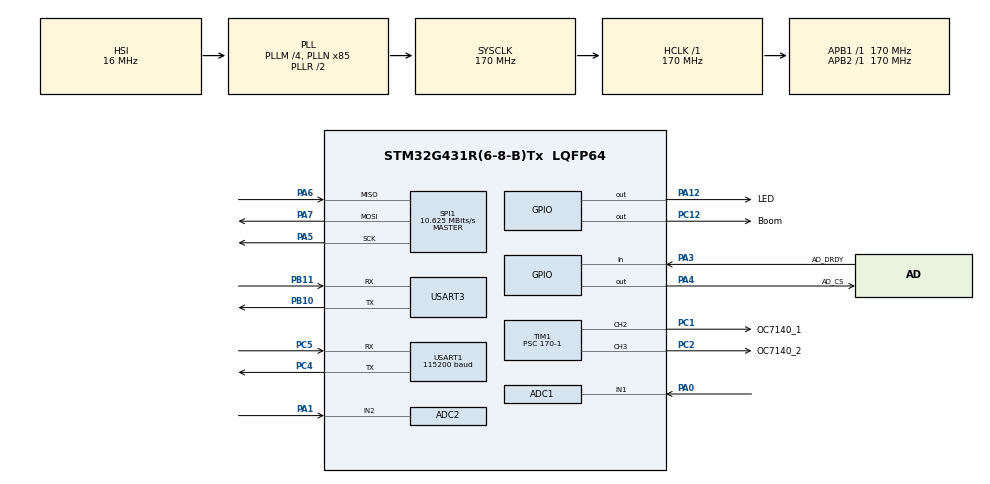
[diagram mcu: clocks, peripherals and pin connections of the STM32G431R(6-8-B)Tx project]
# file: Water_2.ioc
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ADC1.Channel-0\#ChannelRegularConversion=ADC_CHANNEL_1
ADC1.NbrOfConversionFlag=1
ADC1.OffsetNumber-0\#ChannelRegularConversion=ADC_OFFSET_NONE
ADC1.Rank-0\#ChannelRegularConversion=1
ADC1.SamplingTime-0\#ChannelRegularConversion=ADC_SAMPLETIME_2CYCLES_5
ADC1.master=1
ADC2.Channel-0\#ChannelRegularConversion=ADC_CHANNEL_2
ADC2.NbrOfConversionFlag=1
ADC2.OffsetNumber-0\#ChannelRegularConversion=ADC_OFFSET_NONE
ADC2.Rank-0\#ChannelRegularConversion=1
ADC2.SamplingTime-0\#ChannelRegularConversion=ADC_SAMPLETIME_2CYCLES_5
Mcu.Family=STM32G4
Mcu.Name=STM32G431R(6-8-B)Tx
Mcu.Package=LQFP64
NVIC.PriorityGroup=NVIC_PRIORITYGROUP_4
NVIC.USART1_IRQn=true\:0\:0\:false\:false\:true\:true\:true\:true
NVIC.USART3_IRQn=true\:0\:0\:false\:false\:true\:true\:true\:true
PA0.Mode=IN1-Single-Ended
PA0.Signal=ADC1_IN1
PA1.Mode=IN2-Single-Ended
PA1.Signal=ADC2_IN2
PA12.GPIO_Label=LED
PA12.GPIO_ModeDefaultOutputPP=GPIO_MODE_OUTPUT_PP
PA12.GPIO_PuPd=GPIO_PULLDOWN
PA12.GPIO_Speed=GPIO_SPEED_FREQ_VERY_HIGH
PA12.PinState=GPIO_PIN_SET
PA12.Signal=GPIO_Output
PA13.Mode=Serial_Wire
PA13.Signal=SYS_JTMS-SWDIO
PA14.Mode=Serial_Wire
PA14.Signal=SYS_JTCK-SWCLK
PA3.GPIO_Label=AD_DRDY
PA3.GPIO_PuPd=GPIO_PULLUP
PA3.Signal=GPIO_Input
PA4.GPIO_Label=AD_CS
PA4.GPIO_ModeDefaultOutputPP=GPIO_MODE_OUTPUT_PP
PA4.GPIO_PuPd=GPIO_PULLDOWN
PA4.GPIO_Speed=GPIO_SPEED_FREQ_VERY_HIGH
PA4.PinState=GPIO_PIN_SET
PA4.Signal=GPIO_Output
PA5.Mode=Full_Duplex_Master
PA5.Signal=SPI1_SCK
PA6.Mode=Full_Duplex_Master
PA6.Signal=SPI1_MISO
PA7.Mode=Full_Duplex_Master
PA7.Signal=SPI1_MOSI
PB10.GPIO_Speed=GPIO_SPEED_FREQ_VERY_HIGH
PB10.Mode=Asynchronous
PB10.Signal=USART3_TX
PB11.GPIO_Speed=GPIO_SPEED_FREQ_VERY_HIGH
PB11.Mode=Asynchronous
PB11.Signal=USART3_RX
PC1.GPIO_Label=OC7140_1
PC1.GPIO_PuPd=GPIO_PULLDOWN
PC1.GPIO_Speed=GPIO_SPEED_FREQ_VERY_HIGH
PC1.Signal=S_TIM1_CH2
PC12.GPIO_Label=Boom
PC12.GPIO_ModeDefaultOutputPP=GPIO_MODE_OUTPUT_PP
PC12.GPIO_PuPd=GPIO_PULLUP
PC12.GPIO_Speed=GPIO_SPEED_FREQ_VERY_HIGH
PC12.PinState=GPIO_PIN_SET
PC12.Signal=GPIO_Output
PC14-OSC32_IN.Mode=LSE-External-Oscillator
PC14-OSC32_IN.Signal=RCC_OSC32_IN
PC15-OSC32_OUT.Mode=LSE-External-Oscillator
PC15-OSC32_OUT.Signal=RCC_OSC32_OUT
PC2.GPIO_Label=OC7140_2
PC2.GPIO_PuPd=GPIO_PULLDOWN
PC2.GPIO_Speed=GPIO_SPEED_FREQ_VERY_HIGH
PC2.Signal=S_TIM1_CH3
PC4.GPIO_Speed=GPIO_SPEED_FREQ_VERY_HIGH
PC4.Mode=Asynchronous
PC4.Signal=USART1_TX
PC5.GPIO_Speed=GPIO_SPEED_FREQ_VERY_HIGH
PC5.Mode=Asynchronous
PC5.Signal=USART1_RX
PF0-OSC_IN.Mode=HSE-External-Oscillator
PF0-OSC_IN.Signal=RCC_OSC_IN
PF1-OSC_OUT.Mode=HSE-External-Oscillator
PF1-OSC_OUT.Signal=RCC_OSC_OUT
ProjectManager.HeapSize=0x200
ProjectManager.StackSize=0x400
ProjectManager.TargetToolchain=MDK-ARM V5.32
RCC.ADC12Freq_Value=170000000
RCC.AHBFreq_Value=170000000
RCC.APB1Freq_Value=170000000
RCC.APB1TimFreq_Value=170000000
RCC.APB2Freq_Value=170000000
RCC.APB2TimFreq_Value=170000000
RCC.CortexFreq_Value=170000000
RCC.EXTERNAL_CLOCK_VALUE=12288000
RCC.HCLKFreq_Value=170000000
RCC.HSE_VALUE=16000000
RCC.HSI48_VALUE=48000000
RCC.HSI_VALUE=16000000
RCC.PLLM=RCC_PLLM_DIV4
RCC.PLLN=85
RCC.SYSCLKFreq_VALUE=170000000
RCC.SYSCLKSource=RCC_SYSCLKSOURCE_PLLCLK
RCC.USBFreq_Value=170000000
RCC.VCOOutputFreq_Value=340000000
SH.S_TIM1_CH2.0=TIM1_CH2,PWM Generation2 CH2
SH.S_TIM1_CH3.0=TIM1_CH3,PWM Generation3 CH3
SPI1.BaudRatePrescaler=SPI_BAUDRATEPRESCALER_16
SPI1.CLKPhase=SPI_PHASE_2EDGE
SPI1.CalculateBaudRate=10.625 MBits/s
SPI1.DataSize=SPI_DATASIZE_8BIT
SPI1.Direction=SPI_DIRECTION_2LINES
SPI1.Mode=SPI_MODE_MASTER
SPI1.VirtualType=VM_MASTER
TIM1.Channel-PWM\ Generation2\ CH2=TIM_CHANNEL_2
TIM1.Channel-PWM\ Generation3\ CH3=TIM_CHANNEL_3
TIM1.PeriodNoDither=1000
TIM1.Prescaler=170-1
TIM1.PulseNoDither_2=0
TIM6.PeriodNoDither=10000
TIM6.Prescaler=1700
TIM7.PeriodNoDither=1000
TIM7.Prescaler=170
USART1.BaudRate=115200
USART1.VirtualMode-Asynchronous=VM_ASYNC
USART3.VirtualMode-Asynchronous=VM_ASYNC
VP_SYS_VS_DBSignals.Mode=DisableDeadBatterySignals
VP_TIM1_VS_ClockSourceINT.Mode=Internal
VP_TIM6_VS_ClockSourceINT.Mode=Enable_Timer
VP_TIM7_VS_ClockSourceINT.Mode=Enable_Timer
board=custom

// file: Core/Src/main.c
/* USER CODE BEGIN Header */
/**
 ******************************************************************************
 * @file           : main.c
 * @brief          : Main program body
 ******************************************************************************
 * @attention
 *
 * Copyright (c) 2025 STMicroelectronics.
 * All rights reserved.
 *
 * This software is licensed under terms that can be found in the LICENSE file
 * in the root directory of this software component.
 * If no LICENSE file comes with this software, it is provided AS-IS.
 *
 ******************************************************************************
 */
/* USER CODE END Header */
#include "main.h"
#include "adc.h"
#include "spi.h"
#include "tim.h"
#include "usart.h"
#include "gpio.h"

/* USER CODE BEGIN Includes */
#include <stdio.h>
#include <string.h>
#include "Led.h"
#include "Ds18B20.h"
#include "AllSet.h"
#include "ADS1220.h"
#include "water_quality_ai.h"
#include "cJSON.h"
/* USER CODE END Includes */

/* USER CODE BEGIN PD */
#define RX_BUFFER_SIZE 64
// 新调试指令格式: 0xAA 0xAA 0xBB 0xBB (4字节序列)
#define DEBUG_CMD_BYTE0 0xAA
#define DEBUG_CMD_BYTE1 0xAA
#define DEBUG_CMD_BYTE2 0xBB
#define DEBUG_CMD_BYTE3 0xBB

ADS1220_HandleTypeDef hads1220;
uint32_t adc_data;
// 配置寄存器 (使用宏定义方便调整)
// 范围 = +/- Vref / Gain
// 注意：单端测量(AINx-AVSS)且信号接近0V时，必须禁用PGA (PGA_BYPASS)
uint8_t config_reg[4] = {
    MUX_P_AIN0_N_AVSS | GAIN_1 | PGA_BYPASS,               // Config 0: 增益1, 禁用PGA (关键修改)
    DR_20SPS | MODE_NORMAL | CM_SINGLE | TS_OFF | BCS_OFF, // Config 1: 20SPS, 关闭温度传感器
    VREF_AVDD | FIR_NONE | PSW_OPEN | IDAC_OFF,            // Config 2: 使用AVDD(3.3V)作为参考
    I1MUX_DISABLED | I2MUX_DISABLED | DRDY_ON_DRDY_ONLY    // Config 3: IDAC禁用
};

float sensor_254_nm = 0.0f;
float sensor_550_nm = 0.0f;
float sensor_temperature = 0.0f;
float result_cod = 0.0f;
float result_uv254 = 0.0f;

/* USER CODE END PD */

/* USER CODE BEGIN PV */
// USART3接收相关变量
uint8_t usart3_rx_buffer[RX_BUFFER_SIZE];
uint16_t usart3_rx_index = 0;
uint8_t usart3_rx_complete = 0;
uint8_t cmd_rx_state = 0;  // 新指令状态: 0=等AA1, 1=等AA2, 2=等BB1, 3=等BB2
uint8_t cmd_toggle_state = 0;  // 调试切换指令: 0=等CC1, 1=等CC2, 2=等CC3
uint8_t cmd_mute_state = 0;    // 静默指令: 0=等DD1, 1=等DD2, 2=等DD3
uint8_t cmd_unmute_state = 0;  // 恢复指令: 0=等EE1, 1=等EE2, 2=等EE3

uint8_t tx_muted = 0;  // 0=允许USART3发送, 1=静默(遥控系统占用信道时禁止发送)

// USART1接收相关变量 (新增)
uint8_t usart1_rx_buffer[1];

uint8_t TestStart = 0;

uint8_t debug_mode = 0;  // 0=正常模式(周期检测), 1=调试模式(指令触发检测)

uint64_t tick_counter = 0;
uint64_t tick_heart = 0;

// 初始水泵控制（非阻塞10秒）
uint8_t initial_pump_done = 0;
uint64_t tick_initial_pump = 0;

// 总线空闲检测：记录最后一次收到字节的时刻
uint64_t tick_last_rx = 0;
/* USER CODE END PV */

void SystemClock_Config(void);

/* USER CODE BEGIN 0 */
int fputc(int ch, FILE *f)
{
  HAL_UART_Transmit(&huart1, (uint8_t *)&ch, 1, 0xffff); ///< 普通串口发送数据
  while (__HAL_UART_GET_FLAG(&huart1, UART_FLAG_TC) == RESET)
  {
  } ///< 等待发送完成
  return ch;
}

/* USER CODE END 0 */

int main(void)
{

  /* MCU Configuration--------------------------------------------------------*/

  /* Reset of all peripherals, Initializes the Flash interface and the Systick. */
  HAL_Init();

  /* Configure the system clock */
  SystemClock_Config();

  /* Initialize all configured peripherals */
  MX_GPIO_Init();
  MX_SPI1_Init();
  MX_USART1_UART_Init();
  MX_TIM6_Init();
  MX_TIM7_Init();
  MX_ADC1_Init();
  MX_ADC2_Init();
  MX_TIM1_Init();
  MX_USART3_UART_Init();
  /* USER CODE BEGIN 2 */
  HAL_TIM_Base_Start_IT(&htim6);
  HAL_TIM_Base_Start_IT(&htim7);
  HAL_TIM_Base_Start_IT(&htim1);
  HAL_TIM_PWM_Start(&htim1, TIM_CHANNEL_2);
  HAL_TIM_PWM_Start(&htim1, TIM_CHANNEL_3);

  // 初始化完成后开启水泵（非阻塞），10秒后自动关闭
  HAL_GPIO_WritePin(Boom_GPIO_Port, Boom_Pin, GPIO_PIN_SET);
  tick_initial_pump = HAL_GetTick();
  initial_pump_done = 0;

  ADS1220_InitStruct(&hads1220, &hspi1); // 初始化ADS1220
  ADS1220_Reset(&hads1220);              // 复位ADS1220
  HAL_Delay(10);
  ADS1220_WriteRegisters(&hads1220, 0, 4, config_reg); // 配置寄存器
  HAL_Delay(1);
  // ADS1220_DebugPrintRegisters(&hads1220); // 打印初始配置 (已注释，避免占用信道)

  // 启动USART3中断接收
  usart3_rx_index = 0;
  usart3_rx_complete = 0;
  HAL_UART_Receive_IT(&huart3, &usart3_rx_buffer[0], 1);

  // 启动USART1中断接收 (新增)
  HAL_UART_Receive_IT(&huart1, &usart1_rx_buffer[0], 1);

  HAL_GPIO_WritePin(GPIOA, LED_Pin, 0);

  tick_counter = HAL_GetTick();
  tick_heart = HAL_GetTick();
  /* USER CODE END 2 */

  /* Infinite loop */
  while (1)
  {

    /* USER CODE BEGIN 3 */

    // 非阻塞检查：初始水泵运行10秒后关闭
    if (!initial_pump_done && (HAL_GetTick() - tick_initial_pump >= 5000))
    {
      HAL_GPIO_WritePin(Boom_GPIO_Port, Boom_Pin, GPIO_PIN_RESET);
      initial_pump_done = 1;
    }

    if (debug_mode)
    {
      // 调试模式：由串口指令触发单次检测
      if (TestStart)
      {
        BoomTest(0, 0);
        TestStart = 0;
      }
    }
    else
    {
      // 正常模式：每10秒周期检测
      if (HAL_GetTick() - tick_counter > 10000)
      {
        BoomTest(0, 0);
        tick_counter = HAL_GetTick();
        HAL_Delay(200);
      }
    }

    // 心跳包已注释，仅保留数据上传，避免占用信道
    // if (!debug_mode)
    // {
    //   if (HAL_GetTick() - tick_heart > 1000)
    //   {
    //     tick_heart = HAL_GetTick();
    //     char tx_buffer_1[80];
    //
    //     int len = snprintf(tx_buffer_1, sizeof(tx_buffer_1),
    //                        "{\"device_id\":%d,\"status\":\"%s\"}\r\n",
    //                        COMM_DEVICE_ID, "online");
    //
    //     HAL_UART_Transmit(&huart3, (uint8_t *)tx_buffer_1, len, 1000);
    //   }
    // }
    // BoardLedTest();
    HAL_Delay(200);
  }
  /* USER CODE END 3 */
}

void SystemClock_Config(void)
{
  RCC_OscInitTypeDef RCC_OscInitStruct = {0};
  RCC_ClkInitTypeDef RCC_ClkInitStruct = {0};

  /** Configure the main internal regulator output voltage
   */
  HAL_PWREx_ControlVoltageScaling(PWR_REGULATOR_VOLTAGE_SCALE1_BOOST);

  /** Initializes the RCC Oscillators according to the specified parameters
   * in the RCC_OscInitTypeDef structure.
   */
  RCC_OscInitStruct.OscillatorType = RCC_OSCILLATORTYPE_HSI;
  RCC_OscInitStruct.HSIState = RCC_HSI_ON;
  RCC_OscInitStruct.HSICalibrationValue = RCC_HSICALIBRATION_DEFAULT;
  RCC_OscInitStruct.PLL.PLLState = RCC_PLL_ON;
  RCC_OscInitStruct.PLL.PLLSource = RCC_PLLSOURCE_HSI;
  RCC_OscInitStruct.PLL.PLLM = RCC_PLLM_DIV4;
  RCC_OscInitStruct.PLL.PLLN = 85;
  RCC_OscInitStruct.PLL.PLLP = RCC_PLLP_DIV2;
  RCC_OscInitStruct.PLL.PLLQ = RCC_PLLQ_DIV2;
  RCC_OscInitStruct.PLL.PLLR = RCC_PLLR_DIV2;
  if (HAL_RCC_OscConfig(&RCC_OscInitStruct) != HAL_OK)
  {
    Error_Handler();
  }

  /** Initializes the CPU, AHB and APB buses clocks
   */
  RCC_ClkInitStruct.ClockType = RCC_CLOCKTYPE_HCLK | RCC_CLOCKTYPE_SYSCLK | RCC_CLOCKTYPE_PCLK1 | RCC_CLOCKTYPE_PCLK2;
  RCC_ClkInitStruct.SYSCLKSource = RCC_SYSCLKSOURCE_PLLCLK;
  RCC_ClkInitStruct.AHBCLKDivider = RCC_SYSCLK_DIV1;
  RCC_ClkInitStruct.APB1CLKDivider = RCC_HCLK_DIV1;
  RCC_ClkInitStruct.APB2CLKDivider = RCC_HCLK_DIV1;

  if (HAL_RCC_ClockConfig(&RCC_ClkInitStruct, FLASH_LATENCY_4) != HAL_OK)
  {
    Error_Handler();
  }
}

/* USER CODE BEGIN 4 */
uint16_t i = 0;
uint16_t k = 0;

void HAL_TIM_PeriodElapsedCallback(TIM_HandleTypeDef *htim)
{
  // 判断中断是否来自 TIM6
  if (htim->Instance == TIM6)
  {
    // printf("%f\n\r", DS18B20_Get_Temp()); // 已注释，避免占用信道
  }
}

void HAL_UART_RxCpltCallback(UART_HandleTypeDef *huart)
{
  if (huart->Instance == USART3)
  {
    tick_last_rx = HAL_GetTick();  // 更新最后收到字节的时刻
    uint8_t received_byte = usart3_rx_buffer[usart3_rx_index];

    // 新指令格式: 0xAA 0xAA 0xBB 0xBB (4字节序列状态机, 全内联)
    switch (cmd_rx_state)
    {
    case 0:  // 等待第一个 0xAA
      if (received_byte == DEBUG_CMD_BYTE0)
      {
        cmd_rx_state = 1;
      }
      break;

    case 1:  // 等待第二个 0xAA
      if (received_byte == DEBUG_CMD_BYTE1)
      {
        cmd_rx_state = 2;
      }
      else
      {
        cmd_rx_state = 0;
      }
      break;

    case 2:  // 等待第一个 0xBB
      if (received_byte == DEBUG_CMD_BYTE2)
      {
        cmd_rx_state = 3;
      }
      else
      {
        cmd_rx_state = 0;
      }
      break;

    case 3:  // 等待第二个 0xBB → 指令完成
      if (received_byte == DEBUG_CMD_BYTE3)
      {
        TestStart = 1;   // 触发单次检测
      }
      cmd_rx_state = 0;  // 无论匹配与否, 均重置状态
      break;
    }

    // 调试模式切换指令: 0xCC 0xCC 0xCC (3字节序列)
    switch (cmd_toggle_state)
    {
    case 0:  // 等待第一个 0xCC
      if (received_byte == 0xCC)
      {
        cmd_toggle_state = 1;
      }
      break;

    case 1:  // 等待第二个 0xCC
      if (received_byte == 0xCC)
      {
        cmd_toggle_state = 2;
      }
      else
      {
        cmd_toggle_state = 0;
      }
      break;

    case 2:  // 等待第三个 0xCC → 指令完成
      if (received_byte == 0xCC)
      {
        debug_mode = !debug_mode;  // 切换调试模式
        // 调试模式切换回传已注释，仅保留数据上传，避免占用信道
        // char toggle_msg[64];
        // int toggle_len = snprintf(toggle_msg, sizeof(toggle_msg),
        //     "{\"device_id\":%d,\"debug_mode\":%d}\r\n",
        //     COMM_DEVICE_ID, debug_mode);
        // HAL_UART_Transmit(&huart3, (uint8_t *)toggle_msg, toggle_len, 1000);
      }
      cmd_toggle_state = 0;
      break;
    }

    // 静默开启指令: 0xDD 0xDD 0xDD (遥控系统启动时发出)
    switch (cmd_mute_state)
    {
    case 0:
      if (received_byte == 0xDD) { cmd_mute_state = 1; }
      break;
    case 1:
      if (received_byte == 0xDD) { cmd_mute_state = 2; }
      else { cmd_mute_state = 0; }
      break;
    case 2:
      if (received_byte == 0xDD) { tx_muted = 1; }
      cmd_mute_state = 0;
      break;
    }

    // 静默关闭指令: 0xEE 0xEE 0xEE (遥控系统退出时发出)
    switch (cmd_unmute_state)
    {
    case 0:
      if (received_byte == 0xEE) { cmd_unmute_state = 1; }
      break;
    case 1:
      if (received_byte == 0xEE) { cmd_unmute_state = 2; }
      else { cmd_unmute_state = 0; }
      break;
    case 2:
      if (received_byte == 0xEE) { tx_muted = 0; }
      cmd_unmute_state = 0;
      break;
    }

    // 继续接收下一个字节
    if (usart3_rx_index < RX_BUFFER_SIZE - 1)
    {
      usart3_rx_index++;
      HAL_UART_Receive_IT(&huart3, &usart3_rx_buffer[usart3_rx_index], 1);
    }
    else
    {
      // 缓冲区满，重置索引
      usart3_rx_index = 0;
      HAL_UART_Receive_IT(&huart3, &usart3_rx_buffer[usart3_rx_index], 1);
    }
  }
}

// 错误回调
void HAL_UART_ErrorCallback(UART_HandleTypeDef *huart)
{
  if (huart->Instance == USART3)
  {
    // 清除错误标志（通过读取寄存器）
    __HAL_UART_CLEAR_OREFLAG(huart);
    __HAL_UART_CLEAR_NEFLAG(huart);
    __HAL_UART_CLEAR_FEFLAG(huart);
    __HAL_UART_CLEAR_PEFLAG(huart);

    // 重新启动中断接收
    HAL_UART_Receive_IT(&huart3, &usart3_rx_buffer[0], 1);
  }
}
/* USER CODE END 4 */

void Error_Handler(void)
{
  __disable_irq();
  while (1)
  {
  }
}
